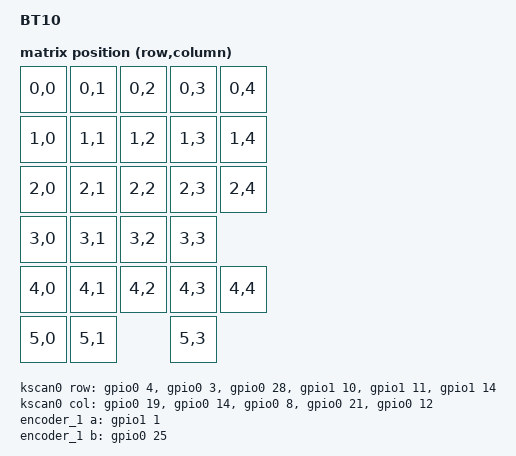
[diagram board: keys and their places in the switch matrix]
/*
* Copyright (c) 2021 Polarity Works
*
* SPDX-License-Identifier: MIT
*/

/dts-v1/;
#include <nordic/nrf52840_qiaa.dtsi>

#include <dt-bindings/led/led.h>
#include <dt-bindings/zmk/matrix_transform.h>

/ {
	model = "BT10";
	compatible = "polarityworks,BT10";

	chosen {
		zephyr,code-partition = &code_partition;
		zephyr,sram = &sram0;
		zephyr,flash = &flash0;
		zmk,kscan = &kscan0;
		zmk,underglow = &led_strip;
		zmk,backlight = &backlight;
		zmk,matrix_transform = &default_transform;
	/*	zmk,battery = &vbatt;*/
	};

	sensors {
		compatible = "zmk,keymap-sensors";
		sensors = <&encoder_1>;
	};

	default_transform: keymap_transform_0 {
		compatible = "zmk,matrix-transform";
		columns = <15>;
		rows = <5>;
		map = <
			RC(0,0) RC(0,1) RC(0,2) RC(0,3) RC(0,4)
			RC(1,0) RC(1,1) RC(1,2) RC(1,3) RC(1,4)
			RC(2,0) RC(2,1) RC(2,2) RC(2,3) RC(2,4)
			RC(3,0) RC(3,1) RC(3,2) RC(3,3)
			RC(4,0) RC(4,1) RC(4,2) RC(4,3) RC(4,4)
			RC(5,0)     RC(5,1)   RC(5,3)
		>;
	};


	kscan0: kscan_0 {
		compatible = "zmk,kscan-gpio-matrix";
		label = "KSCAN";
		diode-direction = "col2row";

		col-gpios
			= <&gpio0 19 GPIO_ACTIVE_HIGH>
			, <&gpio0 14 GPIO_ACTIVE_HIGH>
			, <&gpio0 8 GPIO_ACTIVE_HIGH>
			, <&gpio0 21 GPIO_ACTIVE_HIGH>
			, <&gpio0 12 GPIO_ACTIVE_HIGH>
			;

		row-gpios
			= <&gpio0 4 (GPIO_ACTIVE_HIGH | GPIO_PULL_DOWN)>
			, <&gpio0 3 (GPIO_ACTIVE_HIGH | GPIO_PULL_DOWN)>
			, <&gpio0 28 (GPIO_ACTIVE_HIGH | GPIO_PULL_DOWN)>
			, <&gpio1 10 (GPIO_ACTIVE_HIGH | GPIO_PULL_DOWN)>
			, <&gpio1 11 (GPIO_ACTIVE_HIGH | GPIO_PULL_DOWN)>
			, <&gpio1 14 (GPIO_ACTIVE_HIGH | GPIO_PULL_DOWN)>
			;
	};
	ext-power {
		compatible = "zmk,ext-power-generic";
		label = "EXT_POWER";
		control-gpios = <&gpio1 13 GPIO_ACTIVE_HIGH>;
	};
	encoder_1: encoder_1 {
		compatible = "alps,ec11";
		label = "ENCODER_ONE";
		a-gpios = <&gpio1 1 (GPIO_ACTIVE_HIGH | GPIO_PULL_UP)>;
		b-gpios = <&gpio0 25 (GPIO_ACTIVE_HIGH | GPIO_PULL_UP)>;
		resolution = <4>;
		status = "okay";
	};
	backlight: pwmleds {
		compatible = "pwm-leds";
		label = "Backlight LEDs";
		pwm_led_0 {
			pwms = <&pwm0 17>;
			label = "Backlight LED 0";
		};
	};

	leds {
		compatible = "gpio-leds";
		blue_led: led_0 {
			gpios = <&gpio0 15 GPIO_ACTIVE_HIGH>;
			label = "Blue LED";
		};
	};

	/*vbatt: vbatt {
		compatible = "zmk,battery-voltage-divider";
		label = "VBATT";
		io-channels = <&adc 2>;
		output-ohms = <100000>;
		full-ohms = <(100000 + 100000)>;
	};*/
};

&adc {
	status = "okay";
};

&pwm0 {
	status = "okay";
	ch0-pin = <17>;
};

&gpiote {
	status = "okay";
};

&gpio0 {
	status = "okay";
};

&gpio1 {
	status = "okay";
};

&usbd {
	status = "okay";
};


&flash0 {
	/*
	 * For more information, see:
	 * http://docs.zephyrproject.org/latest/devices/dts/flash_partitions.html
	 */
	partitions {
		compatible = "fixed-partitions";
		#address-cells = <1>;
		#size-cells = <1>;

		sd_partition: partition@0 {
			label = "softdevice";
			reg = <0x00000000 0x00026000>;
		};
		code_partition: partition@26000 {
			label = "code_partition";
			reg = <0x00026000 0x000c6000>;
		};

		/*
		 * The flash starting at 0x000ec000 and ending at
		 * 0x000f3fff is reserved for use by the application.
		 */

		/*
		 * Storage partition will be used by FCB/LittleFS/NVS
		 * if enabled.
		 */
		storage_partition: partition@ec000 {
			label = "storage";
			reg = <0x000ec000 0x00008000>;
		};

		boot_partition: partition@f4000 {
			label = "adafruit_boot";
			reg = <0x000f4000 0x0000c000>;
		};
	};
};

&spi1 {
	compatible = "nordic,nrf-spim";
	status = "okay";
	mosi-pin = <26>;
	// Unused pins, needed for SPI definition, but not used by the ws2812 driver itself.
	sck-pin = <27>;
	miso-pin = <22>;

	led_strip: ws2812@0 {
		compatible = "worldsemi,ws2812-spi";
		label = "WS2812";

		/* SPI */
		reg = <0>;
		spi-max-frequency = <4000000>;

		/* WS2812 */
		chain-length = <12>; /* number of LEDs */
		spi-one-frame = <0x70>;
		spi-zero-frame = <0x40>;
		color-mapping = <LED_COLOR_ID_GREEN
                   LED_COLOR_ID_RED
                   LED_COLOR_ID_BLUE>;
	};
};
